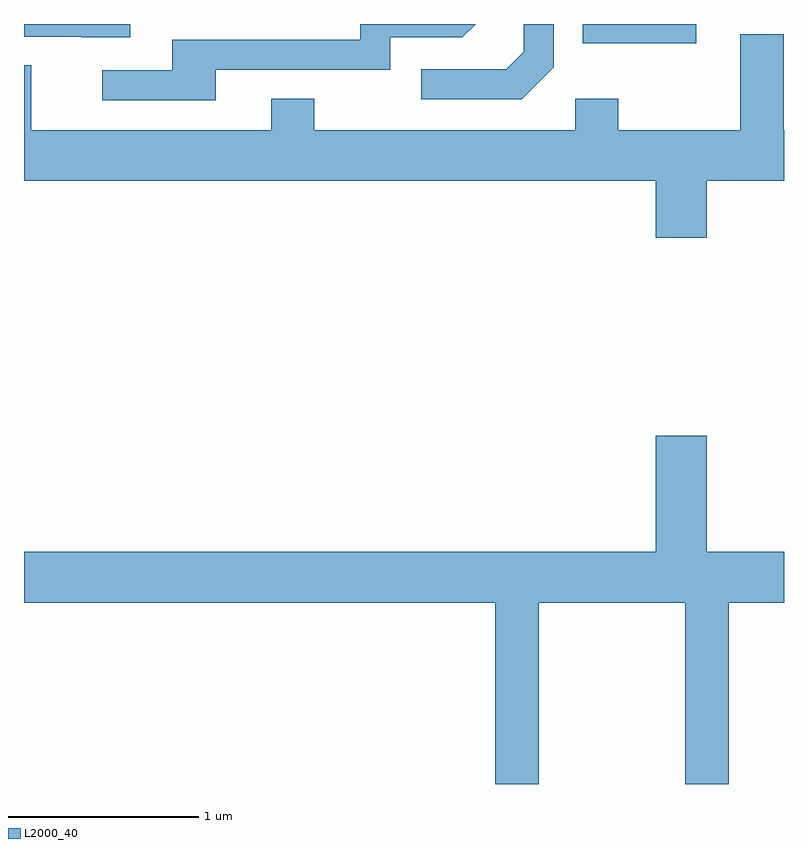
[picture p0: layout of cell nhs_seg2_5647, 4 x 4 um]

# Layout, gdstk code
import gdstk
lib = gdstk.Library(unit=1e-6, precision=1e-09)
def R(c, l, rs):  # rectangles x0, y0, x1, y1
    for r in rs: c.add(gdstk.rectangle(r[:2], r[2:], *l))
def P(c, l, *ps):  # polygons
    for p in ps: c.add(gdstk.Polygon(p, *l))
L2000_40 = (2000, 40)

nhs_seg2_5647 = lib.new_cell('nhs_seg2_5647')
R(nhs_seg2_5647, L2000_40, [(354.551,1055.701,355.149,1055.802)])
P(nhs_seg2_5647, L2000_40, [(354.399,1055.574),(354.399,1055.802),(354.241,1055.802),(354.241,1055.657),(354.149,1055.564),(353.703,1055.564),(353.703,1055.406),(354.232,1055.406)],
  [(352.619,1055.561),(353.539,1055.561),(353.539,1055.731),(353.917,1055.731),(353.988,1055.802),(353.381,1055.802),(353.381,1055.719),(352.391,1055.719),(352.391,1055.559),(352.023,1055.559),(352.023,1055.401),(352.619,1055.401)],
  [(352.169,1055.802),(351.611,1055.802),(351.611,1055.736),(351.915,1055.736),(351.915,1055.731),(352.169,1055.731)],
  [(355.204,1054.976),(355.611,1054.976),(355.611,1055.244),(355.609,1055.244),(355.609,1055.749),(355.381,1055.749),(355.381,1055.244),(354.739,1055.244),(354.739,1055.409),(354.511,1055.409),(354.511,1055.244),(353.139,1055.244),(353.139,1055.409),(352.911,1055.409),(352.911,1055.244),(351.649,1055.244),(351.649,1055.584),(351.611,1055.584),(351.611,1054.976),(354.936,1054.976),(354.936,1054.676),(355.204,1054.676)],
  [(354.319,1052.756),(355.091,1052.756),(355.091,1051.802),(355.319,1051.802),(355.319,1052.756),(355.611,1052.756),(355.611,1053.024),(355.204,1053.024),(355.204,1053.634),(354.936,1053.634),(354.936,1053.024),(351.611,1053.024),(351.611,1052.756),(354.091,1052.756),(354.091,1051.802),(354.319,1051.802)])

lib.write_gds('nhs_seg2_5647.gds')
